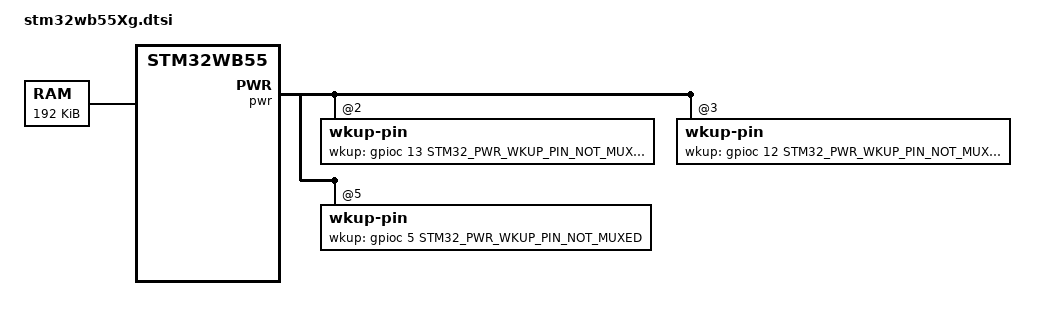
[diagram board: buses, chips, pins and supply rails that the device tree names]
/*
 * Copyright (c) 2018 Linaro Limited
 * Copyright (c) 2024 STMicroelectronics
 *
 * SPDX-License-Identifier: Apache-2.0
 */
#include <st/wb/stm32wb55.dtsi>

/ {
	sram0: memory@20000000 {
		reg = <0x20000000 DT_SIZE_K(192)>;
	};

	soc {
		flash-controller@58004000 {
			flash0: flash@8000000 {
				/* Physical flash size is 1MByte but the last 148kByte
				 * are assigned to the wireless firmware running on
				 * Cortex-M0 companion.
				 */
				reg = <0x08000000 DT_SIZE_K(876)>;
				ranges = <0 0x8000000 DT_SIZE_K(876)>;
			};
		};
	};
};

&pwr {
	wkup-pin@2 {
		reg = <0x2>;
		wkup-gpios = <&gpioc 13 STM32_PWR_WKUP_PIN_NOT_MUXED>;
	};

	wkup-pin@3 {
		reg = <0x3>;
		wkup-gpios = <&gpioc 12 STM32_PWR_WKUP_PIN_NOT_MUXED>;
	};

	wkup-pin@5 {
		reg = <0x5>;
		wkup-gpios = <&gpioc 5 STM32_PWR_WKUP_PIN_NOT_MUXED>;
	};
};
